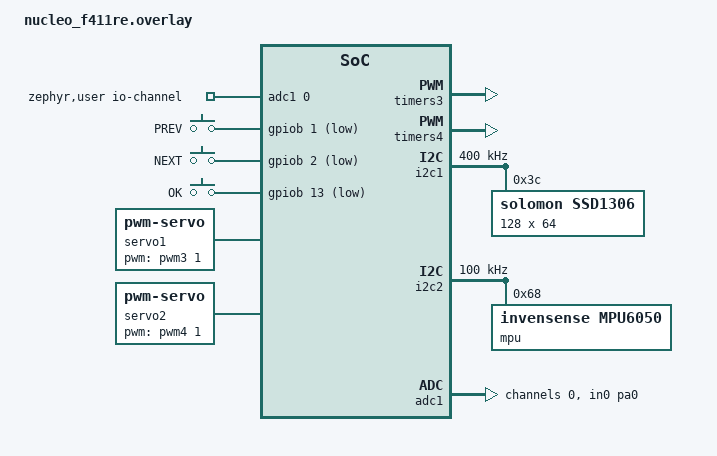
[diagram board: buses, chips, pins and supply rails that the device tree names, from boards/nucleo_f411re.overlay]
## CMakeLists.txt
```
cmake_minimum_required(VERSION 3.20.0)

find_package(Zephyr REQUIRED HINTS $ENV{ZEPHYR_BASE})
project(Project_6
        VERSION 1.0
        DESCRIPTION "Maze Game"
        LANGUAGES C)

target_include_directories(app PRIVATE ${CMAKE_CURRENT_LIST_DIR}/services/Display_service
                                        ${CMAKE_CURRENT_LIST_DIR}/services/Sensor_service
                                        ${CMAKE_CURRENT_LIST_DIR}/general
                                        ${CMAKE_CURRENT_LIST_DIR}/services/ServoMotor_service
                                        ${CMAKE_CURRENT_LIST_DIR}/services/Game_service
                                        ${CMAKE_CURRENT_LIST_DIR}/services/Score_service
                                        ${CMAKE_CURRENT_LIST_DIR}/services/Goal_service
)
target_sources(app PRIVATE ${CMAKE_CURRENT_LIST_DIR}/src/main.c
                           ${CMAKE_CURRENT_LIST_DIR}/services/Display_service/display_ssd1306.c
                           ${CMAKE_CURRENT_LIST_DIR}/services/Sensor_service/sensor_mpu6050.c
                           ${CMAKE_CURRENT_LIST_DIR}/services/ServoMotor_service/servomotor.c
                           ${CMAKE_CURRENT_LIST_DIR}/services/Game_service/game.c
                           ${CMAKE_CURRENT_LIST_DIR}/services/Score_service/score.c
                           ${CMAKE_CURRENT_LIST_DIR}/services/Goal_service/goal.c
)
```

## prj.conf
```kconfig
CONFIG_LOG=y
CONFIG_I2C=y
CONFIG_GPIO=y
CONFIG_PWM=y
CONFIG_PWM_STM32=y

# MPU6050 (polled - no INT pin wired)
CONFIG_SENSOR=y
CONFIG_MPU6050=y
CONFIG_MPU6050_TRIGGER_NONE=y

# SSD1306 + character framebuffer
CONFIG_DISPLAY=y
CONFIG_SSD1306=y
CONFIG_CHARACTER_FRAMEBUFFER=y

# cfb_framebuffer_init() allocates the frame buffer from the system heap
# (128 x 64 mono = 1 KiB).
CONFIG_HEAP_MEM_POOL_SIZE=4096

# "%f" in snprintf() and in the log backend
CONFIG_REQUIRES_FLOAT_PRINTF=y
CONFIG_CBPRINTF_FP_SUPPORT=y

CONFIG_MAIN_STACK_SIZE=2048

# Named threads ("sensor") in logs and the thread analyzer
CONFIG_THREAD_NAME=y

# Persistent high-score table.
# NVS can't be used on this SoC: its settings backend forces the NVS sector
# size to the flash erase-block size (128 KB here) and stores it in a
# uint16_t, so settings_backend_init() returns -EDOM. ZMS uses a uint32_t
# sector size and handles the 128 KB sectors of the storage_partition.
CONFIG_FLASH=y
CONFIG_FLASH_MAP=y
CONFIG_SETTINGS=y
CONFIG_ZMS=y
CONFIG_SETTINGS_ZMS=y

CONFIG_INPUT=y
CONFIG_INPUT_GPIO_KEYS=y

# Photoresistor at the goal, read on ADC1_IN0 (PA0).
CONFIG_ADC=y
```

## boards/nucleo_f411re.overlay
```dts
/*
 * nucleo_f411re — Maze Game overlay
 *
 *   SSD1306 OLED ........ I2C1  (PB8 SCL / PB9 SDA)
 *   MPU6050 IMU ......... I2C2  (PB10 SCL / PB3 SDA)
 *   Servo 1 ............. TIM3_CH1 / PB4   (20 ms frame, 1.1-1.9 ms pulse)
 *   Servo 2 ............. TIM4_CH1 / PB6
 *   Buttons 1/2/3 ...... PB1 / PB2 / PB13  (to GND, internal pull-up)
 *   Goal sensor ........ photoresistor divider on ADC1_IN0 / PA0 (Arduino A0)
 *   Score storage ...... top 256 KB of flash (ZMS, 2 x 128 KB sectors)
 */

#include <zephyr/dt-bindings/i2c/i2c.h>
#include <zephyr/dt-bindings/pwm/pwm.h>
#include <zephyr/dt-bindings/gpio/gpio.h>
#include <zephyr/dt-bindings/input/input-event-codes.h>
#include <zephyr/dt-bindings/adc/adc.h>

/ {
	chosen {
		zephyr,display = &ssd1306;
	};

	/* Names the photoresistor channel for ADC_DT_SPEC_GET_BY_IDX() in goal.c. */
	zephyr,user {
		io-channels = <&adc1 0>;
	};

	/*
	 * The three game buttons, delivered through the input subsystem
	 * (CONFIG_INPUT_GPIO_KEYS). One INPUT_CALLBACK_DEFINE in the game
	 * service turns these codes into game events. INPUT_BTN_0..2 are
	 * contiguous (0x100..0x102); INPUT_KEY_0 is 11 and not adjacent to
	 * KEY_1/2/3, so BTN_* is the tidy choice. Keep in sync with game.c
	 * (CODE_PREV/NEXT/OK).
	 */
	buttons {
		compatible = "gpio-keys";

		btn_prev: button_0 {
			label = "PREV";
			gpios = <&gpiob 1 (GPIO_ACTIVE_LOW | GPIO_PULL_UP)>;
			zephyr,code = <INPUT_BTN_0>;
		};

		/* PB2 is also the SoC BOOT1 pin. Harmless on a Nucleo (BOOT0 is
		 * jumpered low, so BOOT1 is don't-care), but if boot ever misbehaves
		 * with a button held, this is the one to move. */
		btn_next: button_1 {
			label = "NEXT";
			gpios = <&gpiob 2 (GPIO_ACTIVE_LOW | GPIO_PULL_UP)>;
			zephyr,code = <INPUT_BTN_1>;
		};

		btn_ok: button_2 {
			label = "OK";
			gpios = <&gpiob 13 (GPIO_ACTIVE_LOW | GPIO_PULL_UP)>;
			zephyr,code = <INPUT_BTN_2>;
		};
	};
};

/*
 * The board's on-board user button is on PC13, which shares STM32 EXTI line 13
 * with btn_ok (PB13) — only one pin per line number can hold the interrupt.
 * The game doesn't use sw0, so disable it and give EXTI13 to PB13.
 */
&user_button {
	status = "disabled";
};

/ {

	/*
	 * SG90-class servos: 20 ms frame, positioned by a ~1-2 ms pulse.
	 * Kept a touch inside the datasheet ends (1.1-1.9 ms) to avoid buzzing
	 * at the mechanical limits of the maze gimbal.
	 */
	servo1: servo1 {
		compatible = "pwm-servo";
		pwms = <&pwm3 1 PWM_MSEC(20) PWM_POLARITY_NORMAL>;
		min-pulse = <PWM_USEC(1100)>;
		max-pulse = <PWM_USEC(1900)>;
	};

	servo2: servo2 {
		compatible = "pwm-servo";
		pwms = <&pwm4 1 PWM_MSEC(20) PWM_POLARITY_NORMAL>;
		min-pulse = <PWM_USEC(1100)>;
		max-pulse = <PWM_USEC(1900)>;
	};
};

/*
 * TIM3 counter clock is 96 MHz. The stm32 PWM driver runs the counter at
 * clk / (st,prescaler + 1), so 95 -> 1 MHz tick. A 20 ms frame is then
 * 20000 counts, well inside the 16-bit timer. Without the prescaler the
 * longest period would be ~682 us and pwm_set_dt() for 20 ms would fail.
 */
&timers3 {
	status = "okay";
	st,prescaler = <95>;

	pwm3: pwm {
		status = "okay";
		pinctrl-0 = <&tim3_ch1_pb4>;   /* servo1 */
		pinctrl-names = "default";
	};
};

/* servo2 on a separate timer, same 1 MHz tick / 20 ms frame. */
&timers4 {
	status = "okay";
	st,prescaler = <95>;

	pwm4: pwm {
		status = "okay";
		pinctrl-0 = <&tim4_ch1_pb6>;   /* servo2 / Arduino D10 */
		pinctrl-names = "default";
	};
};

/*
 * The board DTS enables USART1 on PB6/PB7, which collides with servo2's
 * TIM4_CH1 on PB6. Nothing here uses USART1 (the console is USART2), so
 * release the pins.
 */
&usart1 {
	status = "disabled";
};

&i2c1 {
	status = "okay";
	clock-frequency = <I2C_BITRATE_FAST>;

	ssd1306: ssd1306@3c {
		compatible = "solomon,ssd1306";
		reg = <0x3c>;
		width = <128>;
		height = <64>;
		segment-offset = <0>;
		page-offset = <0>;
		display-offset = <0>;
		multiplex-ratio = <63>;
		segment-remap;
		com-invdir;
		prechargep = <0x22>;
		status = "okay";
	};
};

&i2c2 {
	status = "okay";
	clock-frequency = <100000>;   /* 100 kHz — the MPU6050 wiring is not fast-mode clean */

	mpu: mpu6050@68 {
		compatible = "invensense,mpu6050";
		reg = <0x68>;
		status = "okay";
	};
};

/*
 * Photoresistor at the goal. LDR + a fixed resistor (~10k) form a divider
 * into PA0. A long acquisition time helps because the LDR's source
 * impedance is high; tune the thresholds in goal.c from the logged counts.
 */
&adc1 {
	status = "okay";
	pinctrl-0 = <&adc1_in0_pa0>;
	pinctrl-names = "default";
	st,adc-clock-source = "SYNC";
	/* APB2 is 96 MHz here; the F411 ADC tops out at 36 MHz, so /4 (24 MHz).
	 * /2 would be 48 MHz and out of spec. */
	st,adc-prescaler = <4>;
	#address-cells = <1>;
	#size-cells = <0>;

	channel@0 {
		reg = <0>;
		zephyr,gain = "ADC_GAIN_1";
		zephyr,reference = "ADC_REF_INTERNAL";
		zephyr,acquisition-time = <ADC_ACQ_TIME(ADC_ACQ_TIME_TICKS, 480)>;
		zephyr,resolution = <12>;
	};
};

/*
 * High-score storage for the settings backend (ZMS).
 *
 * The STM32F411RE has non-uniform flash sectors (4x16K, 1x64K, 3x128K).
 * NVS can't be used here: its settings backend stores the sector size in a
 * uint16_t and 128 KB (or even 64 KB) overflows it. ZMS uses a uint32_t, so
 * this carves the top two 128 KB sectors (ZMS needs >= 2). That leaves
 * 256 KB for the application image, far more than this build needs.
 *
 * No MCUboot here, so the linker still believes it owns all 512 KB; keep an
 * eye on image size if the app ever grows past 0x40000.
 */
&flash0 {
	partitions {
		compatible = "fixed-partitions";
		#address-cells = <1>;
		#size-cells = <1>;

		storage_partition: partition@40000 {
			label = "storage";
			reg = <0x00040000 0x00040000>;
		};
	};
};
```

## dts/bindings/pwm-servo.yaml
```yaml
# CHANGED (new file): local copy of Zephyr's pwm-servo binding so the
# `compatible = "pwm-servo"` node in boards/nucleo_f411re.overlay resolves.
# Taken verbatim from zephyr/samples/basic/servo_motor/dts/bindings/pwm-servo.yaml
#
# Copyright (c) 2022 Nordic Semiconductor ASA
# SPDX-License-Identifier: Apache-2.0

description: PWM-driven servo motor.

compatible: "pwm-servo"

include: base.yaml

properties:
  pwms:
    required: true
    type: phandle-array
    description: PWM specifier driving the servo motor.

  min-pulse:
    required: true
    type: int
    description: Minimum pulse width (nanoseconds).

  max-pulse:
    required: true
    type: int
    description: Maximum pulse width (nanoseconds).
```

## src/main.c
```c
#include <zephyr/kernel.h>
#include <zephyr/logging/log.h>

#include "app_types.h"
#include "display_ssd1306.h"
#include "sensor_mpu6050.h"
#include "servomotor.h"
#include "score.h"
#include "goal.h"
#include "game.h"

LOG_MODULE_REGISTER(main, CONFIG_LOG_DEFAULT_LEVEL);

/* Sensor -> servo. A couple of samples of slack so a slow servo write never
 * stalls sampling. The game service does not sit on this path; it only gates
 * the servo with servomotor_service_set_active(). */
K_MSGQ_DEFINE(motor_msgq, sizeof(struct imu_sample), 4, 4);

int main(void)
{
	int ret;

	ret = sensor_service_init();
	if (ret < 0) {
		LOG_ERR("Sensor init failed: %d", ret);
		return ret;
	}

	ret = display_service_init();
	if (ret < 0) {
		LOG_ERR("Display init failed: %d", ret);
		return ret;
	}

	ret = servomotor_service_init();
	if (ret < 0) {
		LOG_ERR("Servo Motor init failed: %d", ret);
		return ret;
	}

	ret = score_service_init();
	if (ret < 0) {
		LOG_ERR("Score init failed: %d", ret);
		return ret;
	}

	/* Non-fatal: without the goal sensor a run can still be ended with a
	 * long press on OK, so let the rest of the game come up. */
	ret = goal_service_init();
	if (ret < 0) {
		LOG_WRN("Goal sensor init failed: %d (long-press OK to end a run)", ret);
	}

	ret = sensor_service_start(&motor_msgq);
	if (ret < 0) {
		LOG_ERR("Sensor service start failed: %d", ret);
		return ret;
	}

	ret = servomotor_service_start(&motor_msgq);
	if (ret < 0) {
		LOG_ERR("Servo Motor service start failed: %d", ret);
		return ret;
	}

	ret = game_service_start();
	if (ret < 0) {
		LOG_ERR("Game service start failed: %d", ret);
		return ret;
	}

	LOG_INF("Maze game running");
	return 0;
}
```
